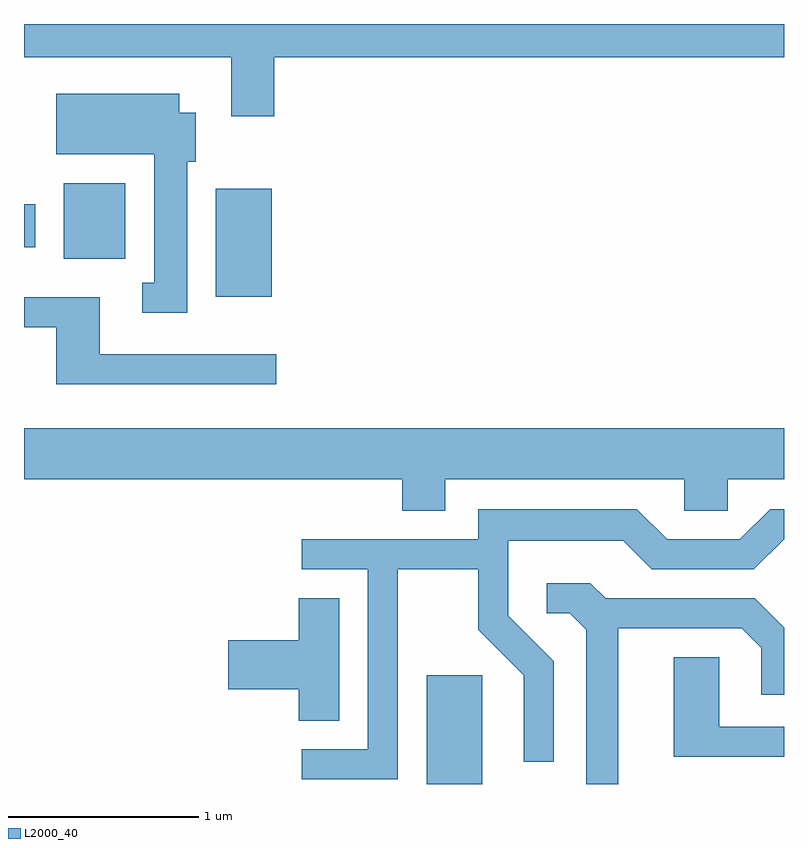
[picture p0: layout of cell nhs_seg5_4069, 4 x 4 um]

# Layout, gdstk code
import gdstk
lib = gdstk.Library(unit=1e-6, precision=1e-09)
def R(c, l, rs):  # rectangles x0, y0, x1, y1
    for r in rs: c.add(gdstk.rectangle(r[:2], r[2:], *l))
def P(c, l, *ps):  # polygons
    for p in ps: c.add(gdstk.Polygon(p, *l))
L2000_40 = (2000, 40)

nhs_seg5_4069 = lib.new_cell('nhs_seg5_4069')
R(nhs_seg5_4069, L2000_40, [(307.731,1464.072,308.024,1464.644), (306.621,1466.636,306.914,1467.204), (305.821,1466.836,306.144,1467.234), (305.611,1466.896,305.669,1467.124)])
P(nhs_seg5_4069, L2000_40, [(306.929,1467.896),(309.611,1467.896),(309.611,1468.072),(305.611,1468.072),(305.611,1467.896),(306.701,1467.896),(306.701,1467.586),(306.929,1467.586)],
  [(306.469,1467.346),(306.514,1467.346),(306.514,1467.604),(306.429,1467.604),(306.429,1467.704),(305.781,1467.704),(305.781,1467.386),(306.296,1467.386),(306.296,1466.709),(306.233,1466.709),(306.233,1466.551),(306.469,1466.551)],
  [(306.938,1466.334),(306.009,1466.334),(306.009,1466.634),(305.611,1466.634),(305.611,1466.476),(305.781,1466.476),(305.781,1466.176),(306.938,1466.176)],
  [(307.829,1465.676),(309.086,1465.676),(309.086,1465.511),(309.314,1465.511),(309.314,1465.676),(309.611,1465.676),(309.611,1465.944),(305.611,1465.944),(305.611,1465.676),(307.601,1465.676),(307.601,1465.511),(307.829,1465.511)],
  [(307.579,1465.201),(308.001,1465.201),(308.001,1464.884),(308.241,1464.644),(308.241,1464.188),(308.399,1464.188),(308.399,1464.717),(308.159,1464.957),(308.159,1465.351),(308.764,1465.351),(308.914,1465.201),(309.452,1465.201),(309.611,1465.36),(309.611,1465.519),(309.539,1465.519),(309.379,1465.359),(308.997,1465.359),(308.837,1465.519),(308.001,1465.519),(308.001,1465.359),(307.073,1465.359),(307.073,1465.201),(307.421,1465.201),(307.421,1464.254),(307.073,1464.254),(307.073,1464.096),(307.579,1464.096)],
  [(308.739,1464.891),(309.389,1464.891),(309.491,1464.789),(309.491,1464.543),(309.611,1464.543),(309.611,1464.895),(309.457,1465.049),(308.672,1465.049),(308.592,1465.129),(308.363,1465.129),(308.363,1464.971),(308.484,1464.971),(308.571,1464.884),(308.571,1464.072),(308.739,1464.072)],
  [(307.269,1465.049),(307.056,1465.049),(307.056,1464.829),(306.686,1464.829),(306.686,1464.571),(307.056,1464.571),(307.056,1464.406),(307.269,1464.406)],
  [(309.611,1464.374),(309.269,1464.374),(309.269,1464.739),(309.031,1464.739),(309.031,1464.216),(309.611,1464.216)])

lib.write_gds('nhs_seg5_4069.gds')
